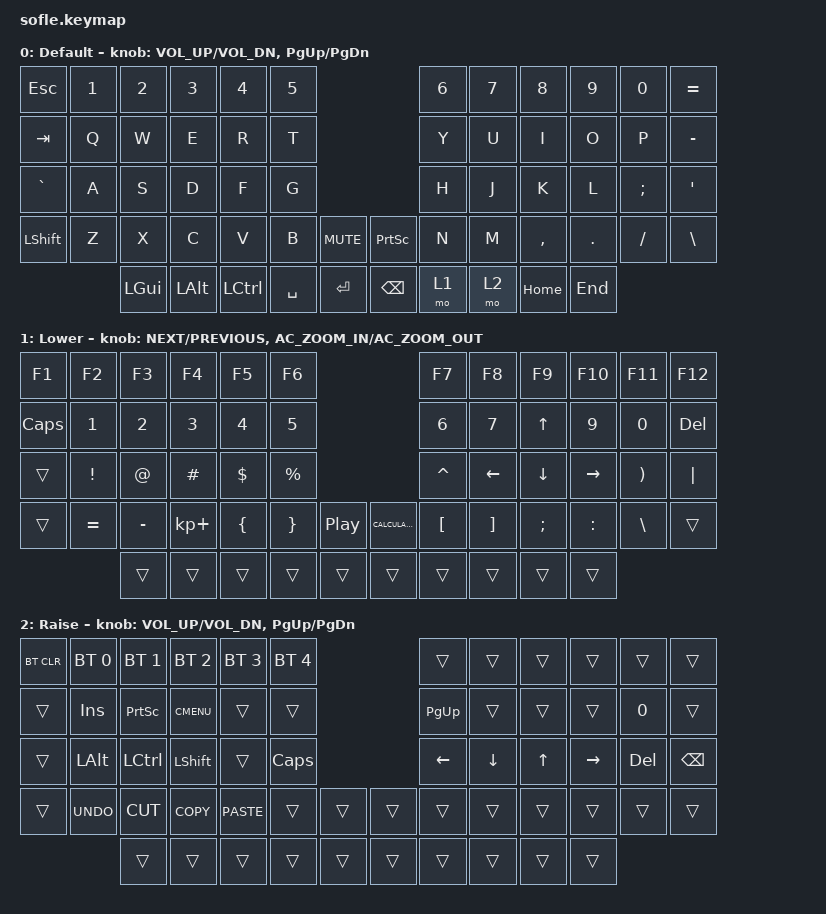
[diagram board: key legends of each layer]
/*
 * Copyright (c) 2020 The ZMK Contributors
 *
 * SPDX-License-Identifier: MIT
 */

#include <behaviors.dtsi>
#include <dt-bindings/zmk/bt.h>
#include <dt-bindings/zmk/keys.h>

/ {
    keymap {
        compatible = "zmk,keymap";

        default_layer {
            display-name = "Default";

            // ------------------------------------------------------------------------------------------------------------
            // |  `    |  1  |  2  |  3   |  4   |  5   |                   |  6   |  7    |  8    |  9   |   0   |       |
            // |  ESC  |  Q  |  W  |  E   |  R   |  T   |                   |  Y   |  U    |  I    |  O   |   P   | BKSPC |
            // |  TAB  |  A  |  S  |  D   |  F   |  G   |                   |  H   |  J    |  K    |  L   |   ;   |   '   |
            // | SHIFT |  Z  |  X  |  C   |  V   |  B   |  MUTE  |  |       |  N   |  M    |  ,    |  .   |   /   | SHIFT |
            //               | GUI | ALT  | CTRL | LOWER|  ENTER |  | SPACE | RAISE| CTRL  | ALT   | GUI  |

            bindings = <
&kp ESCAPE      &kp N1  &kp N2        &kp N3    &kp N4     &kp N5                                    &kp N6  &kp N7  &kp N8     &kp N9   &kp N0    &kp EQUAL
&kp TAB         &kp Q   &kp W         &kp E     &kp R      &kp T                                     &kp Y   &kp U   &kp I      &kp O    &kp P     &kp MINUS
&kp GRAVE       &kp A   &kp S         &kp D     &kp F      &kp G                                     &kp H   &kp J   &kp K      &kp L    &kp SEMI  &kp SQT
&kp LEFT_SHIFT  &kp Z   &kp X         &kp C     &kp V      &kp B      &kp C_MUTE    &kp PRINTSCREEN  &kp N   &kp M   &kp COMMA  &kp DOT  &kp FSLH  &kp BACKSLASH
                        &kp LEFT_GUI  &kp LALT  &kp LCTRL  &kp SPACE  &kp RET       &kp BACKSPACE    &mo 1   &mo 2   &kp HOME   &kp END
            >;

            sensor-bindings = <&inc_dec_kp C_VOL_UP C_VOL_DN &inc_dec_kp PG_UP PG_DN>;
        };

        lower_layer {
            display-name = "Lower";

            // ------------------------------------------------------------------------------------------------------------
            // | `     |  F1 |  F2 |  F3  |  F4  |  F5  |                   |  F6  |  F7   |  F8   |  F9  |  F10  |  F11  |
            // | RAISE |   1 |   2 |   3  |   4  |   5  |                   |   6  |   7   |   8   |   9  |    0  |  F12  |
            // |       |  !  |  @  |  #   |  $   |  %   |                   |  ^   |  &    |  *    |  (   |   )   |   |   |
            // |       |  =  |  -  |  +   |  {   |  }   |        |  |       |  [   |  ]    |  ;    |  :   |   \   |       |
            //               |     |      |      |      |        |  |       |      |       |       |      |

            bindings = <
&kp F1    &kp F2     &kp F3     &kp F4       &kp F5    &kp F6                                           &kp F7     &kp F8          &kp F9          &kp F10          &kp F11   &kp F12
&kp CAPS  &kp N1     &kp N2     &kp N3       &kp N4    &kp N5                                           &kp N6     &kp N7          &kp UP_ARROW    &kp N9           &kp N0    &kp DEL
&trans    &kp EXCL   &kp AT     &kp HASH     &kp DLLR  &kp PRCNT                                        &kp CARET  &kp LEFT_ARROW  &kp DOWN_ARROW  &kp RIGHT_ARROW  &kp RPAR  &kp PIPE
&trans    &kp EQUAL  &kp MINUS  &kp KP_PLUS  &kp LBRC  &kp RBRC   &kp C_PLAY_PAUSE    &kp K_CALCULATOR  &kp LBKT   &kp RBKT        &kp SEMI        &kp COLON        &kp BSLH  &trans
                     &trans     &trans       &trans    &trans     &trans              &trans            &trans     &trans          &trans          &trans
            >;

            sensor-bindings =
                <&inc_dec_kp C_NEXT C_PREVIOUS>,
                <&inc_dec_kp C_AC_ZOOM_IN C_AC_ZOOM_OUT>;
        };

        raise_layer {
            display-name = "Raise";

            // ------------------------------------------------------------------------------------------------------------
            // |BTCLR| BT1  | BT2  |  BT3  |  BT4  |  BT5 |                |      |      |       |      |       |       |
            // |     | INS  | PSCR | GUI   |       |      |                | PGUP |      |       |      |       |       |
            // |     | ALT  | CTRL | SHIFT |       | CAPS |                |  <-  |   v  |   ^   |  ->  |  DEL  | BKSPC |
            // |     | UNDO | CUT  | COPY  | PASTE |      |      |  |      |      |      |       |      |       |       |
            //              |      |       |       |      |      |  |      |      |      |       |      |

            bindings = <
&bt BT_CLR  &bt BT_SEL 0  &bt BT_SEL 1  &bt BT_SEL 2  &bt BT_SEL 3  &bt BT_SEL 4                    &trans     &trans    &trans  &trans     &trans   &trans
&trans      &kp INS       &kp PSCRN     &kp K_CMENU   &trans        &trans                          &kp PG_UP  &trans    &trans  &trans     &kp N0   &trans
&trans      &kp LALT      &kp LCTRL     &kp LSHFT     &trans        &kp CLCK                        &kp LEFT   &kp DOWN  &kp UP  &kp RIGHT  &kp DEL  &kp BSPC
&trans      &kp K_UNDO    &kp K_CUT     &kp K_COPY    &kp K_PASTE   &trans        &trans    &trans  &trans     &trans    &trans  &trans     &trans   &trans
                          &trans        &trans        &trans        &trans        &trans    &trans  &trans     &trans    &trans  &trans
            >;

            sensor-bindings = <&inc_dec_kp C_VOL_UP C_VOL_DN &inc_dec_kp PG_UP PG_DN>;
        };
    };
};
